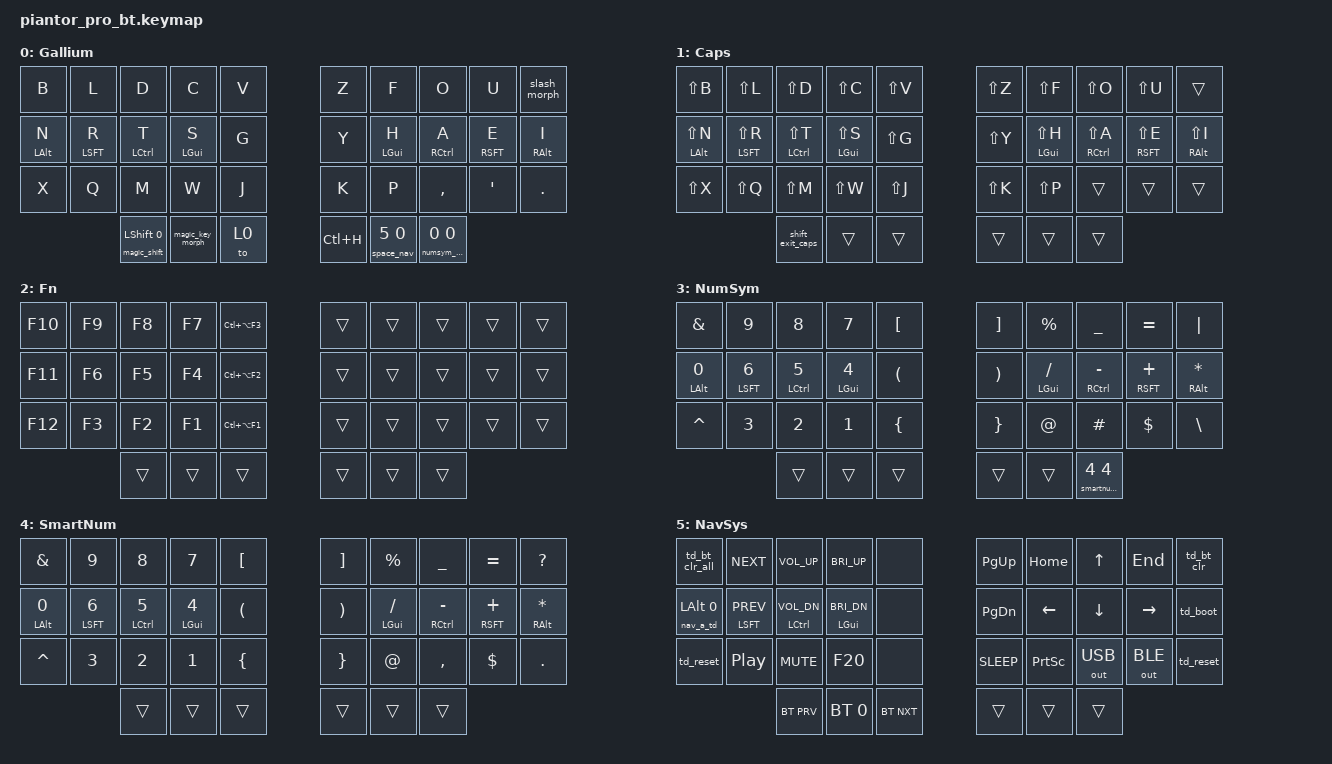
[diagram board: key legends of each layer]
/*
 * Copyright (c) 2020 The ZMK Contributors
 *
 * SPDX-License-Identifier: MIT
 *
 * Gallium layout (modified v1) synchronized with Kanata config (~/configs/kanata.kbd).
 * Layer order: default (0), caps (1), fn (2), num_sym (3), smartnum (4), nav_sys (5)
 *
 * Gallium (Layer 0): Default layer with home row mods
 *   - Home row mods: N=Alt, R=Shift, T=Ctrl, S=Super (left); H=Super, A=Ctrl, E=Shift, I=Alt (right)
 *   - Thumbs: Magic Shift | Magic Key | To Layer 0 | Herdr | Space/Nav | NumSym
 *   - Magic Shift (urob): left outer thumb; tap=sticky shift, shift+tap=caps word, hold=shift
 *   - Herdr: right inner thumb; tap=Ctrl+H (herdr prefix)
 *   - To Layer 0: left inner thumb; exits any active layer
 *   - Magic Key: tap after letter=repeat, after `=```+newline, after ~=slash, after undo=redo, after copy=cut, after delete/backspace=delete word, after space='the', after .='./', after a/e/i/t/s=ă/â/î/ț/ș (Ă/Â/Î/Ț/Ș if shifted, via RG(letter) in XKB), Gallium SFBs: P→H, H→Y, Y→P, C→S, W→S, G→S, U→E, O→A, R→L, L→R, F→Y, K→Y, Z→Y; Shift+Magic Key=caps word, Alt+Magic Key=sticky fn layer
 *   - NumSym thumb key (right outer): tap=sticky num_sym, shift+tap=sticky fn, hold=momentary smartnum, shift+hold=momentary fn
 *   - Combos (50ms timeout / 50ms require-prior-idle):
 *     - Horizontal: Z+F = Escape (layer 0) / Exit to layer 0 (layers 1-5), C+V = Undo (Shift+C+V = Redo),
 *       S+G = Return, W+J = Cut, Y+H = Tab, K+P = Left Click
 *     - Vertical symbols: R+Q = ~, S+W = `, Z+Y = :, Y+K = ;
 *     - Vertical edit: L+R = Paste, D+T = Backspace, T+M = Delete, C+S = Copy (Shift+C+S = Cut)
 *     - Vertical scroll: V+G = Scroll Up, G+J = Scroll Down
 *     - Vertical navigation: F+H = Home, O+A = Up, U+E = End, H+P = Left, A+, = Down, E+' = Right
 *       (Page Up/Down live on the NavSys layer under Space-hold)
 *
 * NumSym (Layer 3): Number & Symbol layer
 *   - Top row: &987[] ]%_=|
 *   - Home row: 0654() ) / - + * with home row mods (0=Alt, 6=Shift, 5=Ctrl, 4=Super, /=Super, -=Ctrl, +=Shift, *=Alt)
 *   - Bottom row: ^321{} }@#blsh$
 *   - Thumbs: trans | trans | trans | trans | trans | smartnum_tap 4 4
 *   - smartnum_tap thumb key: hold = momentary smartnum layer, tap = num_word (smartnum until a non-number key)
 *   - Activated by NumSym thumb key on default layer: tap = sticky num_sym, hold = momentary smartnum
 *
 * SmartNum (Layer 4): Number layer (urob's auto-layer)
 *   - Left side: Numbers in layout 987/0654/321 with home row mods
 *   - Right side: NumSym symbols (]%_=|, ) / - + *, }@#blsh$ )
 *   - Thumbs: trans | trans | trans | trans | trans | trans
 *   - Activated by holding the NumSym thumb key from the default layer (momentary)
 *   - Double-tap NumSym thumb key: num_word mode, auto-exits on the first non-number key
 *
 * Fn Layer (Layer 2): Function keys and keyboard layer activation
 *   - Left side: F-keys (F10/F9/F8/F7/C-A-F3, F11/F6/F5/F4/C-A-F2, F12/F3/F2/F1/C-A-F1) mirrored by finger
 *   - Right side: Inherits from default layer
 *   - Thumbs: trans | trans | trans | trans | trans | trans
 *   - Activated by shift+tap on NumSym thumb key from default layer
 *   - Exit via E+I combo
 *
 * Nav/Sys (Layer 5): Navigation and system control layer
 *   - Left side: Media controls, BT/RGB controls with home row mods
 *   - Right side: Navigation keys (arrows, Home/End, Page Up/Down)
 *   - Thumbs: BT Prev | BT 0 | BT Next | trans | trans | trans
 *   - Activated by holding Space (right thumb)
 */

#include <behaviors.dtsi>
#include <dt-bindings/zmk/keys.h>
#include <dt-bindings/zmk/bt.h>
#include <dt-bindings/zmk/rgb.h>
#include <dt-bindings/zmk/outputs.h>
#define ZMK_POINTING_DEFAULT_SCRL_VAL 20
#include <dt-bindings/zmk/pointing.h>
#include <behaviors/num_word.dtsi>

// urob's helper macros for ZMK behaviors
#include "zmk-helpers/helper.h"

&num_word {
    ignore-modifiers;
    continue-list = <BSPC DEL DOT PLUS MINUS ASTRK FSLH EQUAL GRAVE UP DOWN LEFT RIGHT HOME END PG_UP PG_DN K_UNDO K_AGAIN>;
};

&caps_word {
    continue-list = <BSPC DEL UNDER MINUS>;
};

&sl {
    release-after-ms = <3000>;
    ignore-modifiers;
};

&sk {
    release-after-ms = <2000>;
    quick-release;
};

/ {
    chosen {
        zmk,physical-layout = &five_col_layout;
    };
};

/ {
    behaviors {
        #include "piantor_pro_bt_behaviors.dtsi"
    };

    #include "piantor_pro_bt_combos.dtsi"

    keymap {
        compatible = "zmk,keymap";

        default_layer {
            display-name = "Gallium";
            // Gallium keyboard layout (modified v1: J/Z swapped, X/Q swapped, F/P/Y rotated)
            // ----------------------------------------------------------------------
            //         |  B  |  L  |  D  |  C  |  V  |   |  Z  |  F  |  O  |  U  |  ?  |
            //         |  N  |  R  |  T  |  S  |  G  |   |  Y  |  H  |  A  |  E  |  I  |
            //         |  X  |  Q  |  M  |  W  |  J  |   |  K  |  P  |  ,  |  '  |  .  |
            //         | Magic Shift | Magic Key | To 0 |   | Herdr | Space/Nav | NumSym |
            // Home row mods: N=Alt, R=Shift, T=Ctrl, S=Super (left); H=Super, A=Ctrl, E=Shift, I=Alt (right)
            bindings = <
                &kp B           &kp L           &kp D           &kp C           &kp V           &kp Z  &kp F           &kp O              &kp U              &slash_morph
                &hml LALT N     &hml_shift LSFT R     &hml LCTRL T    &hml LGUI S     &kp G           &kp Y  &hmr LGUI H     &hmr RCTRL A       &hmr_shift RSFT E        &hmr RALT I
                &kp X           &kp Q           &kp M           &kp W           &kp J           &kp K  &kp P           &kp COMMA          &kp SQT            &kp DOT
                                                &magic_shift LSHIFT 0  &magic_key_morph  &to 0  &kp LC(H)  &space_nav 5 0  &numsym_tap 0 0
            >;
        };

        caps_layer {
            display-name = "Caps";
            // Uppercase letters layer for gallium auto-capitalization with home row mods
            // All letters (A-Z) mapped to uppercase in gallium positions, symbols/numbers inherit from default
            // Shift thumb key exits layer and emits shift to avoid double-shift
            // ----------------------------------------------------------------------
            // |  B  |  L  |  D  |  C  |  V  |   |  Z  |  F  |  O  |  U  |trans|
            // |  N  |  R  |  T  |  S  |  G  |   |  Y  |  H  |  A  |  E  |  I  |
            // |  X  |  Q  |  M  |  W  |  J  |   |  K  |  P  |trans|trans|trans|
            //      | Shift+Exit | trans | trans |   | trans | trans | trans |
            bindings = <
                &kp LS(B)       &kp LS(L)       &kp LS(D)          &kp LS(C)       &kp LS(V)      &kp LS(Z)  &kp LS(F)       &kp LS(O)          &kp LS(U)       &trans
                &hml LALT LS(N) &hml_shift LSFT LS(R)  &hml LCTRL LS(T)  &hml LGUI LS(S) &kp LS(G)      &kp LS(Y)  &hmr LGUI LS(H) &hmr RCTRL LS(A)   &hmr_shift RSFT LS(E)  &hmr RALT LS(I)
                &kp LS(X)       &kp LS(Q)       &kp LS(M)          &kp LS(W)       &kp LS(J)      &kp LS(K)  &kp LS(P)       &trans             &trans          &trans
                                              &shift_exit_caps         &trans   &trans  &trans      &trans     &trans
            >;
        };

        fn_layer {
            display-name = "Fn";
            // Function keys (mirrored to left hand for use with right hand mods)
            // Left: F-keys mirrored by finger, Right: inherit from default layer
            // -------------------------------------------------------------------------
            // | F10 | F9  | F8  | F7  | C-A-F3 |   | trans | trans | trans | trans | trans |
            // | F11 | F6  | F5  | F4  | C-A-F2 |   | trans | trans | trans | trans | trans |
            // | F12 | F3  | F2  | F1  | C-A-F1 |   | trans | trans | trans | trans | trans |
            //         | trans | trans | trans |   | trans | trans | trans |
            bindings = <
                &kp F10  &kp F9  &kp F8  &kp F7  &kp LC(LA(F3))      &trans  &trans  &trans  &trans  &trans
                &kp F11  &kp F6  &kp F5  &kp F4  &kp LC(LA(F2))      &trans  &trans  &trans  &trans  &trans
                &kp F12  &kp F3  &kp F2  &kp F1  &kp LC(LA(F1))      &trans  &trans  &trans  &trans  &trans
                                        &trans  &trans  &trans   &trans  &trans  &trans
            >;
        };

        num_sym_layer {
            display-name = "NumSym";
            // Number & Symbol layer with home row mods
            // ---------------------------------------------------------------------
            // |  &  |  9  |  8  |  7  |  [  |   |  ]  |  %  |  _  |  =  |  |  |
            // | 0+A | 6+S | 5+C | 4+G |  (  |   |  )  | /+G | -+C | ++S | *+A |
            // |  ^  |  3  |  2  |  1  |  {  |   |  }  |  @  |  #  |  $  | blsh|
            //      | trans | trans | trans |   | trans | trans | smartnum |
            // Home row mods: 0=Alt, 6=Shift, 5=Ctrl, 4=Super (left); /=Super, -=Ctrl, +=Shift, *=Alt (right)
            bindings = <
                &kp AMPS        &kp N9          &kp N8          &kp N7          &kp LBKT        &kp RBKT        &kp PRCNT       &kp UNDER       &kp EQUAL       &kp PIPE
                &hml LALT N0    &hml_shift LSFT N6    &hml LCTRL N5   &hml LGUI N4    &kp LPAR        &kp RPAR        &hmr LGUI FSLH  &hmr RCTRL MINUS &hmr_shift RSFT PLUS  &hmr RALT ASTRK
                &kp CARET       &kp N3          &kp N2          &kp N1          &kp LBRC        &kp RBRC        &kp AT          &kp HASH        &kp DLLR        &kp BSLH
                                                &trans  &trans  &trans   &trans  &trans  &smartnum_tap 4 4
            >;
        };

        smartnum_layer {
            display-name = "SmartNum";
            // Smart number layer (matching Kanata layout with urob's auto-layer)
            // urob's smartnum auto-exits on non-number keys
            // Numbers on LEFT side: 987/0654/321, right side: num_sym symbols
            // -------------------------------------------------------------------------
            // |  &  |  9  |  8  |  7  |  [  |   |  ]  |  %  |  _  |  =  |  ?  |
            // | 0+A | 6+S | 5+C | 4+G |  (  |   |  )  | /+G | -+C | ++S | *+A |
            // |  ^  |  3  |  2  |  1  |  {  |   |  }  |  @  |  ,  |  $  |  .  |
            //      | trans | trans | trans |   | trans | trans | trans (backspace) |
            bindings = <
                &kp AMPS        &kp N9          &kp N8          &kp N7          &kp LBKT        &kp RBKT        &kp PRCNT       &kp UNDER       &kp EQUAL       &kp QMARK
                &hml LALT N0    &hml_shift LSFT N6    &hml LCTRL N5   &hml LGUI N4    &kp LPAR        &kp RPAR        &hmr LGUI FSLH  &hmr RCTRL MINUS &hmr_shift RSFT PLUS  &hmr RALT ASTRK
                &kp CARET       &kp N3          &kp N2          &kp N1          &kp LBRC        &kp RBRC        &kp AT          &kp COMMA       &kp DLLR        &kp DOT
                                                &trans  &trans  &trans   &trans  &trans  &trans
            >;
        };

        nav_sys_layer {
            display-name = "NavSys";
            // Navigation & System layer (Space hold)
            // Left: Media/System/BT controls, Right: Navigation + BT/System
            // -------------------------------------------------------------------------
            // | BTClrAll** | Next | VolUp | BriUp | ----- |   | PgUp | Home | Up   | End  | BTClr**  |
            // | Boot**/Alt | Prev | VolDn | BriDn | ----- |   | PgDn | Left | Down | Rght | Boot**   |
            // | Reset**    | Play | Mute  | MicM  | ----- |   | Sleep| PrSc | USB  | BLE  | Reset**  |
            //                      | BTPrv | BT0  | BTNxt |   | trans | trans | trans |
            // Home row: tap=action, hold=modifier (Boot/Alt, Prev/Shift, VolDn/Ctrl, BriDn/Super)
            // ** = requires double-tap to trigger (single tap does nothing)
            bindings = <
                &td_bt_clr_all     &kp C_NEXT                   &kp C_VOL_UP                   &kp C_BRI_UP                    &none               &kp PG_UP     &kp HOME      &kp UP          &kp END        &td_bt_clr
                &nav_a_td LALT 0   &hml_shift LSFT C_PREV  &hml LCTRL C_VOL_DN  &hml LGUI C_BRI_DN   &none               &kp PG_DN     &kp LEFT      &kp DOWN        &kp RIGHT      &td_boot
                &td_reset          &kp C_PP                     &kp C_MUTE                     &kp F20                         &none               &kp C_SLEEP   &kp PSCRN     &out OUT_USB    &out OUT_BLE   &td_reset
                            &bt BT_PRV  &bt BT_SEL 0  &bt BT_NXT    &trans  &trans  &trans
            >;
        };
    };
};
